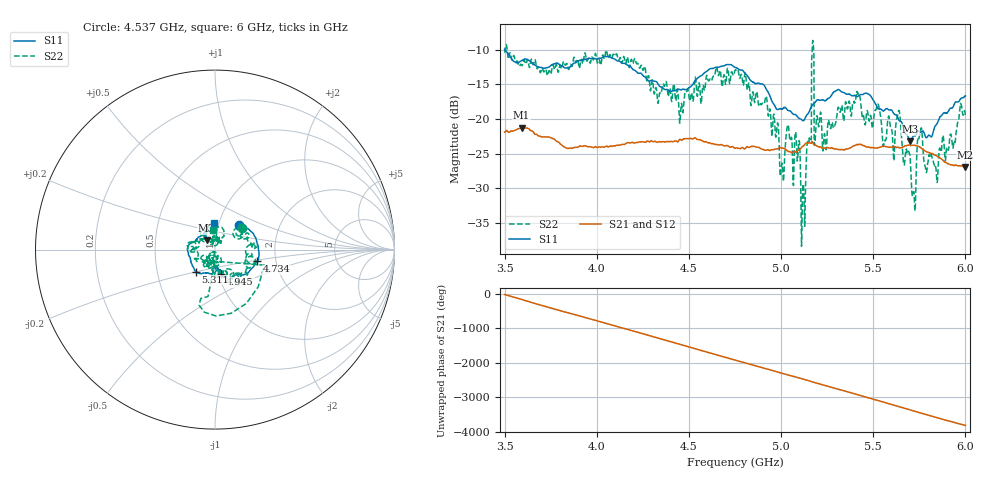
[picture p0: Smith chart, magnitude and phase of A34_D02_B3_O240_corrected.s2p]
! Created with skrf 1.9.0 (http://scikit-rf.org).
# Hz S RI R 50.0
!freq ReS11 ImS11 ReS21 ImS21 ReS12 ImS12 ReS22 ImS22
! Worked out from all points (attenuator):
!   1601 points, 3.5 GHz to 6 GHz, reference 50 ohm
!   highest |S21| = -21.25 dB at 3.592 GHz (marker M1); lowest = -27.0 dB at 6 GHz (marker M2)
!   lowest |S11| = -23.2 dB at 5.702 GHz (marker M3), VSWR 1.15, Z = 45.3 + j4.63 ohm
!   |S11| at or under -10 dB: 3.503 GHz to end of sweep
!   |S22| runs from -38.4 to -8.6 dB; largest |S21 - S12| = 0.00093
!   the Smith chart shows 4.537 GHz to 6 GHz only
!   S11 on the Smith chart (normalised r, x): 4.537 GHz: 1.26, +0.35; 4.734 GHz: 1.60, -0.22; 4.945 GHz: 1.03, -0.28; 5.311 GHz: 0.78, -0.20; 6 GHz: 0.94, +0.28
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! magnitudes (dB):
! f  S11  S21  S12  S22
! 3.5 GHz  -9.9  -21.9  -21.9  -10.4
! 3.592 GHz  -11.5  -21.2  -21.3  -12.2
! 3.917 GHz  -11.5  -24.0  -23.9  -11.4
! 4.334 GHz  -15.0  -23.3  -23.2  -17.4
! 4.537 GHz  -14.4  -22.8  -22.7  -14.3
! 4.734 GHz  -12.2  -24.0  -24.0  -13.3
! 4.75 GHz  -12.5  -24.2  -24.2  -13.0
! 4.945 GHz  -17.1  -24.5  -24.5  -20.3
! 5.005 GHz  -18.5  -24.2  -24.2  -26.4
! 5.034 GHz  -18.7  -24.6  -24.6  -21.0
! 5.089 GHz  -19.7  -24.6  -24.6  -26.0
! 5.12 GHz  -20.3  -23.9  -23.9  -29.4
! 5.167 GHz  -18.0  -23.3  -23.2  -11.0
! 5.236 GHz  -17.3  -24.2  -24.2  -22.1
! 5.311 GHz  -15.7  -24.4  -24.4  -18.3
! 5.584 GHz  -18.7  -24.1  -24.1  -19.6
! 5.638 GHz  -20.1  -24.1  -24.1  -18.8
! 5.702 GHz  -23.2  -23.8  -23.8  -26.2
! 5.719 GHz  -22.5  -23.8  -23.8  -30.6
! 5.752 GHz  -21.8  -24.0  -24.0  -22.2
! 5.841 GHz  -20.9  -25.3  -25.2  -27.2
! 6 GHz  -16.6  -27.0  -26.9  -19.4
